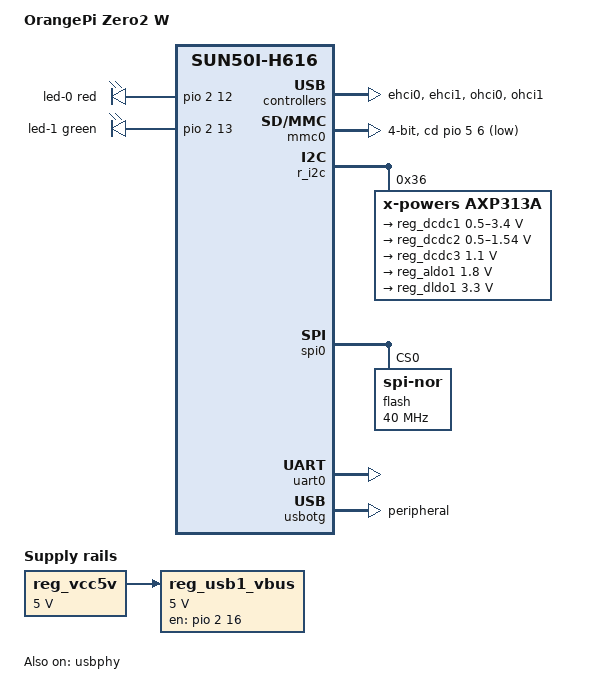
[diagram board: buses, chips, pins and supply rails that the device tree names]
// SPDX-License-Identifier: (GPL-2.0+ or MIT)
/*
 * Copyright (C) 2020 Arm Ltd.
 */

/dts-v1/;

#include "sun50i-h616.dtsi"
#include <dt-bindings/gpio/gpio.h>
#include <dt-bindings/interrupt-controller/arm-gic.h>
#include <dt-bindings/leds/common.h>

/ {
	model = "OrangePi Zero2 W";
	compatible = "xunlong,orangepi-zero2w", "allwinner,sun50i-h616";

	aliases {
		ethernet0 = &emac0;
		serial0 = &uart0;
	};

	chosen {
		stdout-path = "serial0:115200n8";
	};

	leds {
		compatible = "gpio-leds";

		led-0 {
			function = LED_FUNCTION_POWER;
			color = <LED_COLOR_ID_RED>;
			gpios = <&pio 2 12 GPIO_ACTIVE_HIGH>; /* PC12 */
			default-state = "on";
		};

		led-1 {
			function = LED_FUNCTION_STATUS;
			color = <LED_COLOR_ID_GREEN>;
			gpios = <&pio 2 13 GPIO_ACTIVE_HIGH>; /* PC13 */
		};
	};

	reg_vcc5v: vcc5v {
		/* board wide 5V supply directly from the USB-C socket */
		compatible = "regulator-fixed";
		regulator-name = "vcc-5v";
		regulator-min-microvolt = <5000000>;
		regulator-max-microvolt = <5000000>;
		regulator-always-on;
	};

	reg_usb1_vbus: usb1-vbus {
		compatible = "regulator-fixed";
		regulator-name = "usb1-vbus";
		regulator-min-microvolt = <5000000>;
		regulator-max-microvolt = <5000000>;
		vin-supply = <&reg_vcc5v>;
		enable-active-high;
		gpio = <&pio 2 16 GPIO_ACTIVE_HIGH>; /* PC16 */
		status = "okay";
	};
};

&ehci0 {
	status = "okay";
};

&ehci1 {
	status = "okay";
};

/* USB 2 & 3 are on headers only. */

&emac0 {
	status = "disabled";
};

&mmc0 {
	cd-gpios = <&pio 5 6 GPIO_ACTIVE_LOW>;	/* PF6 */
	bus-width = <4>;
	status = "okay";
};

&ohci0 {
	status = "okay";
};

&ohci1 {
	status = "okay";
};

&r_i2c {
	status = "okay";

	axp313a: pmic@36 {
		compatible = "x-powers,axp313a";
		status = "okay";
		reg = <0x36>;
		wakeup-source;

		standby_param: standby_param {
			vcc-dram = <0x4>;
		};

		regulators{
			reg_dcdc1: dcdc1 {
				regulator-name = "axp313a-dcdc1";
				regulator-min-microvolt = <500000>;
				regulator-max-microvolt = <3400000>;
				regulator-step-delay-us = <25>;
				regulator-final-delay-us = <50>;
				regulator-always-on;
			};

			reg_dcdc2: dcdc2 {
				regulator-name = "axp313a-dcdc2";
				regulator-min-microvolt = <500000>;
				regulator-max-microvolt = <1540000>;
				regulator-step-delay-us = <25>;
				regulator-final-delay-us = <50>;
				regulator-ramp-delay = <200>;
				regulator-always-on;
			};

			reg_dcdc3: dcdc3 {
				regulator-name = "axp313a-dcdc3";
				regulator-min-microvolt = <1100000>;
				regulator-max-microvolt = <1100000>;
				regulator-step-delay-us = <25>;
				regulator-final-delay-us = <50>;
				regulator-always-on;
			};

			reg_aldo1: aldo1 {
				regulator-name = "axp313a-aldo1";
				regulator-min-microvolt = <1800000>;
				regulator-max-microvolt = <1800000>;
				regulator-step-delay-us = <25>;
				regulator-final-delay-us = <50>;
				regulator-always-on;
			};

			reg_dldo1: dldo1 {
				regulator-name = "axp313a-dldo1";
				regulator-min-microvolt = <3300000>;
				regulator-max-microvolt = <3300000>;
				regulator-step-delay-us = <25>;
				regulator-final-delay-us = <50>;
				regulator-always-on;
			};
		};
	};
};

&spi0  {
	status = "okay";

	flash@0 {
		#address-cells = <1>;
		#size-cells = <1>;
		compatible = "jedec,spi-nor";
		reg = <0>;
		spi-max-frequency = <40000000>;
	};
};

&uart0 {
	pinctrl-names = "default";
	pinctrl-0 = <&uart0_ph_pins>;
	status = "okay";
};

&usbotg {
	dr_mode = "peripheral";
	status = "okay";
};

&usbphy {
	usb1_vbus-supply = <&reg_usb1_vbus>;
	status = "okay";
};
